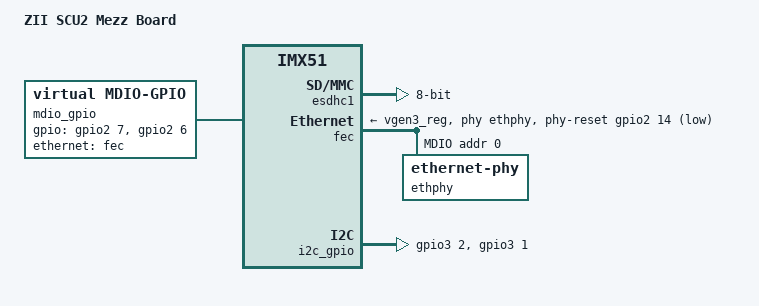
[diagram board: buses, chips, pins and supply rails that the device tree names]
// SPDX-License-Identifier: (GPL-2.0 OR MIT)
// Copyright (C) 2018 Zodiac Inflight Innovations

/dts-v1/;
#include "imx51-zii-common.dtsi"

/ {
	model = "ZII SCU2 Mezz Board";
	compatible = "zii,imx51-scu2-mezz", "fsl,imx51";

	aliases {
		mdio-gpio0 = &mdio_gpio;
	};

	mdio_gpio: mdio-gpio {
		compatible = "virtual,mdio-gpio";
		pinctrl-names = "default";
		pinctrl-0 = <&pinctrl_swmdio>;
		gpios = <&gpio2 7 GPIO_ACTIVE_HIGH>, /* mdc */
			<&gpio2 6 GPIO_ACTIVE_HIGH>; /* mdio */

		#address-cells = <1>;
		#size-cells = <0>;

		switch@0 {
			compatible = "marvell,mv88e6085";
			reg = <0>;
			dsa,member = <0 0>;
			eeprom-length = <512>;
			interrupt-parent = <&gpio1>;
			interrupts = <7 IRQ_TYPE_LEVEL_LOW>;
			interrupt-controller;
			#interrupt-cells = <2>;

			ports {
				#address-cells = <1>;
				#size-cells = <0>;

				port@0 {
					reg = <0>;
					label = "port4";
				};

				port@1 {
					reg = <1>;
					label = "port5";
				};

				port@2 {
					reg = <2>;
					label = "port6";
				};

				port@3 {
					reg = <3>;
					label = "port7";
				};

				port@4 {
					reg = <4>;
					label = "cpu";
					ethernet = <&fec>;

					fixed-link {
						speed = <100>;
						full-duplex;
					};
				};

				port@5 {
					reg = <5>;
					label = "mezz2esb";
					phy-mode = "sgmii";
					fixed-link {
						speed = <1000>;
						full-duplex;
					};
				};
			};
		};
	};
};

&usb_vbus {
	pinctrl-names = "default";
	pinctrl-0 = <&pinctrl_usb_mmc_reset>;
	gpio = <&gpio3 13 GPIO_ACTIVE_LOW>;
	startup-delay-us = <150000>;
};

&esdhc1 {
	pinctrl-names = "default";
	pinctrl-0 = <&pinctrl_esdhc1_4bit &pinctrl_esdhc1_8bit>;
	bus-width = <8>;
};

&fec {
	phy-reset-gpios = <&gpio2 14 GPIO_ACTIVE_LOW>;
	phy-reset-duration = <1>;
	phy-supply = <&vgen3_reg>;
	phy-handle = <&ethphy>;

	mdio {
		#address-cells = <1>;
		#size-cells = <0>;

		ethphy: ethernet-phy@0 {
			reg = <0>;
			max-speed = <100>;
		};
	};
};


&i2c_gpio {
	gpios = <&gpio3 2 GPIO_ACTIVE_HIGH>, /* sda */
		<&gpio3 1 GPIO_ACTIVE_HIGH>; /* scl */
};

&uart2 {
	status = "disabled";
};

&vsd_reg {
	regulator-always-on;
};

&iomuxc {
	pinctrl_fec: fecgrp {
		fsl,pins = <
			MX51_PAD_DISP2_DAT15__FEC_TDATA0	0x2004
			MX51_PAD_DISP2_DAT6__FEC_TDATA1		0x2004
			MX51_PAD_DISP2_DAT7__FEC_TDATA2		0x2004
			MX51_PAD_DISP2_DAT8__FEC_TDATA3		0x2004
			MX51_PAD_DISP2_DAT9__FEC_TX_EN		0x2004
			MX51_PAD_DISP2_DAT10__FEC_COL		0x0180
			MX51_PAD_DISP2_DAT11__FEC_RX_CLK	0x0180
			MX51_PAD_DISP2_DAT12__FEC_RX_DV		0x20a4
			MX51_PAD_DISP2_DAT1__FEC_RX_ER		0x20a4
			MX51_PAD_DISP2_DAT13__FEC_TX_CLK	0x2180
			MX51_PAD_DI_GP3__FEC_TX_ER		0x2004
			MX51_PAD_DISP2_DAT14__FEC_RDATA0	0x2180
			MX51_PAD_DI2_DISP_CLK__FEC_RDATA1	0x0085
			MX51_PAD_DI_GP4__FEC_RDATA2		0x0085
			MX51_PAD_DISP2_DAT0__FEC_RDATA3		0x0085
			MX51_PAD_DI2_PIN2__FEC_MDC		0x2004
			MX51_PAD_DI2_PIN3__FEC_MDIO		0x01f5
			MX51_PAD_DI2_PIN4__FEC_CRS		0x0180
			MX51_PAD_EIM_A20__GPIO2_14		0x0085
			MX51_PAD_EIM_A21__GPIO2_15		0x00e5
		>;
	};

	pinctrl_uart1: uart1grp {
		fsl,pins = <
			MX51_PAD_UART1_RXD__UART1_RXD		0x1c5
			MX51_PAD_UART1_TXD__UART1_TXD		0x1c5
		>;
	};

	pinctrl_uart2: uart2grp {
	};

	pinctrl_uart3: uart3grp {
		fsl,pins = <
			MX51_PAD_UART3_RXD__UART3_RXD		0x1c5
			MX51_PAD_UART3_TXD__UART3_TXD		0x1c5
		>;
	};

	pinctrl_usb_mmc_reset: usbmmcgrp {
		fsl,pins = <
			MX51_PAD_CSI1_D9__GPIO3_13		0x85
		>;
	};

	pinctrl_swmdio: swmdiogrp {
		fsl,pins = <
			MX51_PAD_EIM_D22__GPIO2_6		0x100
			MX51_PAD_EIM_D23__GPIO2_7		0x100
		>;
	};

	pinctrl_swi2c: swi2cgrp {
		fsl,pins = <
			MX51_PAD_DI1_PIN12__GPIO3_1		0x100
			MX51_PAD_DI1_PIN13__GPIO3_2		0x100
		>;
	};
};
